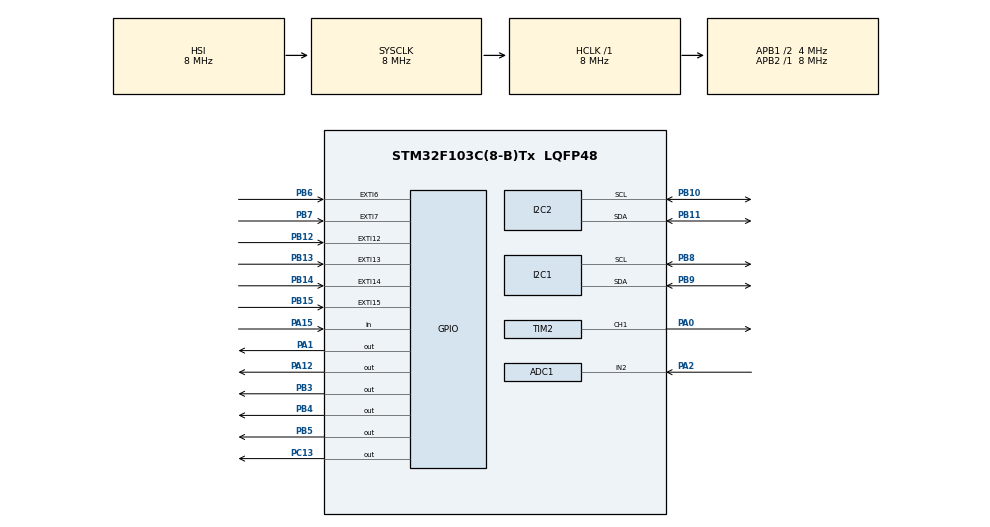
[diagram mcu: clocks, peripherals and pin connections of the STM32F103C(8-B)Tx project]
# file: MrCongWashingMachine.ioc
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ADC1.Channel-1\#ChannelRegularConversion=ADC_CHANNEL_2
ADC1.NbrOfConversionFlag=1
ADC1.Rank-1\#ChannelRegularConversion=1
ADC1.SamplingTime-1\#ChannelRegularConversion=ADC_SAMPLETIME_1CYCLE_5
ADC1.master=1
Mcu.Family=STM32F1
Mcu.Name=STM32F103C(8-B)Tx
Mcu.Package=LQFP48
NVIC.EXTI15_10_IRQn=true\:0\:0\:true\:false\:true\:true\:true\:true
NVIC.EXTI9_5_IRQn=true\:0\:0\:true\:false\:true\:true\:true\:true
NVIC.PriorityGroup=NVIC_PRIORITYGROUP_4
NVIC.TIM2_IRQn=true\:0\:0\:false\:false\:true\:true\:true\:true
NVIC.TIM4_IRQn=true\:0\:0\:false\:false\:true\:true\:true\:true
PA0-WKUP.Signal=S_TIM2_CH1_ETR
PA1.Signal=GPIO_Output
PA12.Signal=GPIO_Output
PA13.Mode=Serial_Wire
PA13.Signal=SYS_JTMS-SWDIO
PA14.Mode=Serial_Wire
PA14.Signal=SYS_JTCK-SWCLK
PA15.Signal=GPIO_Input
PA2.Signal=ADCx_IN2
PB10.Mode=I2C
PB10.Signal=I2C2_SCL
PB11.Mode=I2C
PB11.Signal=I2C2_SDA
PB12.Signal=GPXTI12
PB13.Signal=GPXTI13
PB14.Signal=GPXTI14
PB15.Signal=GPXTI15
PB3.Signal=GPIO_Output
PB4.Signal=GPIO_Output
PB5.Signal=GPIO_Output
PB6.GPIO_PuPd=GPIO_PULLDOWN
PB6.Signal=GPXTI6
PB7.GPIO_PuPd=GPIO_PULLUP
PB7.Signal=GPXTI7
PB8.Mode=I2C
PB8.Signal=I2C1_SCL
PB9.Mode=I2C
PB9.Signal=I2C1_SDA
PC13-TAMPER-RTC.Signal=GPIO_Output
PD0-OSC_IN.Mode=HSE-External-Oscillator
PD0-OSC_IN.Signal=RCC_OSC_IN
PD1-OSC_OUT.Mode=HSE-External-Oscillator
PD1-OSC_OUT.Signal=RCC_OSC_OUT
ProjectManager.HeapSize=0x200
ProjectManager.StackSize=0x400
ProjectManager.TargetToolchain=STM32CubeIDE
RCC.AHBFreq_Value=8000000
RCC.APB1CLKDivider=RCC_HCLK_DIV2
RCC.APB1Freq_Value=4000000
RCC.APB1TimFreq_Value=8000000
RCC.APB2Freq_Value=8000000
RCC.APB2TimFreq_Value=8000000
RCC.HCLKFreq_Value=8000000
RCC.PLLSourceVirtual=RCC_PLLSOURCE_HSE
RCC.SYSCLKFreq_VALUE=8000000
RCC.USBFreq_Value=16000000
SH.ADCx_IN2.0=ADC1_IN2,IN2
SH.S_TIM2_CH1_ETR.0=TIM2_CH1,Output Compare1 CH1
TIM2.AutoReloadPreload=TIM_AUTORELOAD_PRELOAD_ENABLE
TIM2.Channel-Output\ Compare1\ CH1=TIM_CHANNEL_1
TIM2.Period=0xFFFF-1
TIM2.Prescaler=16-1
TIM4.AutoReloadPreload=TIM_AUTORELOAD_PRELOAD_ENABLE
TIM4.Period=1000-1
TIM4.Prescaler=8000-1
VP_TIM2_VS_ClockSourceINT.Mode=Internal
VP_TIM4_VS_ClockSourceINT.Mode=Internal
board=custom

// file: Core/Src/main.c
/* USER CODE BEGIN Header */
/**
 ******************************************************************************
 * @file           : main.c
 * @brief          : Main program body
 ******************************************************************************
 * @attention
 *
 * Copyright (c) 2024 STMicroelectronics.
 * All rights reserved.
 *
 * This software is licensed under terms that can be found in the LICENSE file
 * in the root directory of this software component.
 * If no LICENSE file comes with this software, it is provided AS-IS.
 *
 ******************************************************************************
 */
/* USER CODE END Header */
#include "main.h"

/* USER CODE BEGIN Includes */
#include <stdbool.h>
#include <stdio.h>

#include "pins_def.h"
#include "i2c_lcd.h"
#include "eeprom_handler.h"
#include "washing_procedure.h"
/* USER CODE END Includes */

ADC_HandleTypeDef hadc1;

I2C_HandleTypeDef hi2c1;
I2C_HandleTypeDef hi2c2;

TIM_HandleTypeDef htim2;
TIM_HandleTypeDef htim4;

/* USER CODE BEGIN PV */
volatile bool onStart = true, backup_run_flag = false, power_loss_flag = false;
volatile int8_t procedure_run_flag = 0; // flag variable to indicate running washing procedure or not

bool relayOn = 0, motorRun = 0, paused = 0;
volatile bool ZC = 0; // zero crossing detected
volatile uint16_t freq_count = 0; //variable to count pulse from water sensor
volatile uint8_t water_level; //global variable to store water level

uint16_t alpha;						// variable to control motor speed (dimmer)
volatile uint8_t mode_select[3] = {0, 0, 0}; // mang dung luu gia tri che do giat
uint8_t backupData_eeprom[9];		// only use 9 bytes to store recovery data, see power_observer to know role of each byte
const char *mode_names[5] = {"Giat thuong", "Giat ngam", "Giat nhanh", "Giat nhe", "Chi vat"};
volatile bool flag; // flag to keep home screen not refreshing continuously/anti flickering
bool has_backup_data;

/* USER CODE END PV */

void SystemClock_Config(void);
static void MX_GPIO_Init(void);
static void MX_ADC1_Init(void);
static void MX_TIM2_Init(void);
static void MX_I2C1_Init(void);
static void MX_I2C2_Init(void);
static void MX_TIM4_Init(void);
/* USER CODE BEGIN PFP */
void updateLCD( void );
void power_observer( void );
void making_beep_sound( int times );
/* USER CODE END PFP */

/* USER CODE BEGIN 0 */
void HAL_GPIO_EXTI_Callback(uint16_t GPIO_Pin)
{
	if (GPIO_Pin == watersensor_input_Pin)
	{
		freq_count++;
	}
	if (GPIO_Pin == pulse_input_Pin)
	{
		ZC = true;
		// if (power_loss_flag) {
		// 	power_loss_flag = false;
		// 	HAL_NVIC_SystemReset();
		// }
		// turn on triac and start timer 2
		if (motorRun)
		{
			// __HAL_TIM_SET_COMPARE(&htim2, TIM_CHANNEL_1, alpha); // Change CCR1 value dynamically
			// HAL_TIM_OC_Start_IT(&htim2, TIM_CHANNEL_1);			 // Starts the timer
			HAL_GPIO_WritePin(triac_gate_GPIO_Port, triac_gate_Pin, GPIO_PIN_SET);
		} else {
			HAL_GPIO_WritePin(triac_gate_GPIO_Port, triac_gate_Pin, GPIO_PIN_RESET);
		}
	}
	if (GPIO_Pin == button1_Pin)
	{
		HAL_ResumeTick();
		if (has_backup_data)
		{
			/* nếu là vừa mở máy, có dữ liệu backup và nút start được nhấn thì chạy ctrinh backup*/
			backup_run_flag = true; // fix hêrre
			has_backup_data = false;
		}
		else
		{
			// if (procedure_run_flag == 1) {
			// 	flag = true;
			// 	paused = true;
			// 	procedure_run_flag = -4; //tam dung
			// } else if(procedure_run_flag == -4) {
			// 	flag = true;
			// 	paused = false;
			// 	procedure_run_flag = 1; // tiep tuc
			// }
			if ( !paused ) {
				if (!HAL_GPIO_ReadPin(door_sensor_GPIO_Port, door_sensor_Pin))
				{
					if ((mode_select[0] != 0 && mode_select[1] != 0 && mode_select[2] != 0) || (mode_select[0] == 5))
					{
						flag = true;
						procedure_run_flag = 1; // chạy ok
					}
					else
					{
						flag = true;
						procedure_run_flag = -1; //lỗi chưa chọn đủ input
					}
					if (procedure_run_flag == -3) { // tiếp tục chạy sau khi đã đóng cửa
						procedure_run_flag = 1;
					}
				}
				else
				{
					flag = true;
					procedure_run_flag = -2; //lỗi chưa đongs cửa
				}
			}
		}
	}
	if (!procedure_run_flag) {
		if (GPIO_Pin == button2_Pin)
		{
			/*
			mode_select[0] - bien luu che do giat
			== 1 : giat thuong
			== 2 : giat ngam (giat lau lau lau)
			== 3 : giat nhanh (giat nhe)
			== 4 : vat va xa
			== 5 : chi xa
			*/
			mode_select[0]++;
			if (mode_select[0] > 5)
			{
				mode_select[0] = 1;
			}
			has_backup_data = false;
		}
		if (GPIO_Pin == button3_Pin)
		{
			/*
			mode_select[1] - bien luu muc nuoc
			== i : muc nuoc = (i*10)%
			*/
			mode_select[1]++;
			if (mode_select[1] > 10)
			{
				mode_select[1] = 1;
			}
			has_backup_data = false;
		}
		if (GPIO_Pin == button4_Pin)
		{
			/*
			mode_select[2] - bien luu so lan xa
			== i : so lan xa = i (i <= 3)
			*/
			mode_select[2]++;
			if (mode_select[2] > 3)
			{
				mode_select[2] = 1;
			}
			has_backup_data = false;
		}
	}
}

void HAL_TIM_PeriodElapsedCallback(TIM_HandleTypeDef *htim)
{
	if (htim->Instance == TIM4)
	{
		// Timer 1 count done, means freq_count done in 1s
		// frequency = freq_count
		/*
		 * Water level: 0% ~ f = 11300Hz; 100% ~ f = 9000Hz
		 * Need to make a graph for this, temporarily use Linear
		 */
		int cal_level  = (int)((-0.04563 * freq_count) + 468.5045); // convert into 0-100% ax+b
		if (cal_level < 0) {
			water_level = 0;
		} else {
			water_level = cal_level;
		}
		// char data[16];
		// sprintf(data, "w:%d c:%d%%f:%d", freq_count, water_level , HAL_GetTick());
		// lcd_goto_XY(1, 0);
		// lcd_send_string("test water level");
		// lcd_goto_XY(2, 0);
		// lcd_send_string(data);
		freq_count = 0;
	}
}
/* USER CODE END 0 */

int main(void)
{

	/* MCU Configuration--------------------------------------------------------*/

	/* Reset of all peripherals, Initializes the Flash interface and the Systick. */
	HAL_Init();

	/* Configure the system clock */
	SystemClock_Config();

	/* Initialize all configured peripherals */
	MX_GPIO_Init();
	MX_ADC1_Init();
	MX_TIM2_Init();
	MX_I2C1_Init();
	MX_I2C2_Init();
	MX_TIM4_Init();
	/* USER CODE BEGIN 2 */
	HAL_Delay(1000); // delay 1000ms to wait for everything
	lcd_init();
	updateLCD();
	onStart = false;
	procedure_init();

	/* USER CODE END 2 */

	/* Infinite loop */
	/* USER CODE BEGIN WHILE */
	while (1)
	{
		// updateLCD();
		power_observer();
		if (backup_run_flag) {
			if (HAL_GPIO_ReadPin(door_sensor_GPIO_Port, door_sensor_Pin) && current_step!=1) {
				/*if door is open when in other step than filling water, stop program and display error message*/
				motorRun = false; // tắt động cơ
				flag = true; //display door error message
				procedure_run_flag = -3;
				HAL_SuspendTick();
				HAL_GPIO_WritePin(drain_gate_GPIO_Port, drain_gate_Pin, GPIO_PIN_RESET);
				HAL_GPIO_WritePin(triac_gate_GPIO_Port, triac_gate_Pin, GPIO_PIN_RESET);
			} else {
				run_procedure_backup(mode_select, water_level, &backup_run_flag, &motorRun, &alpha);
			}
		} else {
			if (procedure_run_flag == 1 )
			{
				if (HAL_GPIO_ReadPin(door_sensor_GPIO_Port, door_sensor_Pin) && current_step!=1) {
					/*if door is open when in other step than filling water, stop program and display error message*/
					motorRun = false; // tắt động cơ
					flag = true; //display door error message
					procedure_run_flag = -3;
					HAL_SuspendTick();
					HAL_GPIO_WritePin(drain_gate_GPIO_Port, drain_gate_Pin, GPIO_PIN_RESET);
					HAL_GPIO_WritePin(triac_gate_GPIO_Port, triac_gate_Pin, GPIO_PIN_RESET);
				} else {
					run_procedure(mode_select, water_level, &procedure_run_flag, &motorRun, &alpha);
				}
			}
		}

		// if (!relayOn) {
		// 	HAL_GPIO_WritePin(buzzer_GPIO_Port, buzzer_Pin, GPIO_PIN_RESET);
		// 	HAL_GPIO_WritePin(relay_GPIO_Port, relay_Pin, GPIO_PIN_RESET);
		// } else {
		// 	HAL_GPIO_WritePin(buzzer_GPIO_Port, buzzer_Pin, GPIO_PIN_SET);
		// 	HAL_GPIO_WritePin(relay_GPIO_Port, relay_Pin, GPIO_PIN_SET);
		// }
		/* USER CODE END WHILE */

	}
}

void SystemClock_Config(void)
{
	RCC_OscInitTypeDef RCC_OscInitStruct = {0};
	RCC_ClkInitTypeDef RCC_ClkInitStruct = {0};
	RCC_PeriphCLKInitTypeDef PeriphClkInit = {0};

	/** Initializes the RCC Oscillators according to the specified parameters
	 * in the RCC_OscInitTypeDef structure.
	 */
	RCC_OscInitStruct.OscillatorType = RCC_OSCILLATORTYPE_HSI;
	RCC_OscInitStruct.HSIState = RCC_HSI_ON;
	RCC_OscInitStruct.HSICalibrationValue = RCC_HSICALIBRATION_DEFAULT;
	RCC_OscInitStruct.PLL.PLLState = RCC_PLL_NONE;
	if (HAL_RCC_OscConfig(&RCC_OscInitStruct) != HAL_OK)
	{
		Error_Handler();
	}

	/** Initializes the CPU, AHB and APB buses clocks
	 */
	RCC_ClkInitStruct.ClockType = RCC_CLOCKTYPE_HCLK | RCC_CLOCKTYPE_SYSCLK | RCC_CLOCKTYPE_PCLK1 | RCC_CLOCKTYPE_PCLK2;
	RCC_ClkInitStruct.SYSCLKSource = RCC_SYSCLKSOURCE_HSI;
	RCC_ClkInitStruct.AHBCLKDivider = RCC_SYSCLK_DIV1;
	RCC_ClkInitStruct.APB1CLKDivider = RCC_HCLK_DIV2;
	RCC_ClkInitStruct.APB2CLKDivider = RCC_HCLK_DIV1;

	if (HAL_RCC_ClockConfig(&RCC_ClkInitStruct, FLASH_LATENCY_0) != HAL_OK)
	{
		Error_Handler();
	}
	PeriphClkInit.PeriphClockSelection = RCC_PERIPHCLK_ADC;
	PeriphClkInit.AdcClockSelection = RCC_ADCPCLK2_DIV2;
	if (HAL_RCCEx_PeriphCLKConfig(&PeriphClkInit) != HAL_OK)
	{
		Error_Handler();
	}
}

static void MX_ADC1_Init(void)
{

	ADC_ChannelConfTypeDef sConfig = {0};

	/** Common config
	 */
	hadc1.Instance = ADC1;
	hadc1.Init.ScanConvMode = ADC_SCAN_DISABLE;
	hadc1.Init.ContinuousConvMode = DISABLE;
	hadc1.Init.DiscontinuousConvMode = DISABLE;
	hadc1.Init.ExternalTrigConv = ADC_SOFTWARE_START;
	hadc1.Init.DataAlign = ADC_DATAALIGN_RIGHT;
	hadc1.Init.NbrOfConversion = 1;
	if (HAL_ADC_Init(&hadc1) != HAL_OK)
	{
		Error_Handler();
	}

	/** Configure Regular Channel
	 */
	sConfig.Channel = ADC_CHANNEL_2;
	sConfig.Rank = ADC_REGULAR_RANK_1;
	sConfig.SamplingTime = ADC_SAMPLETIME_1CYCLE_5;
	if (HAL_ADC_ConfigChannel(&hadc1, &sConfig) != HAL_OK)
	{
		Error_Handler();
	}
}

static void MX_I2C1_Init(void)
{

	hi2c1.Instance = I2C1;
	hi2c1.Init.ClockSpeed = 100000;
	hi2c1.Init.DutyCycle = I2C_DUTYCYCLE_2;
	hi2c1.Init.OwnAddress1 = 0;
	hi2c1.Init.AddressingMode = I2C_ADDRESSINGMODE_7BIT;
	hi2c1.Init.DualAddressMode = I2C_DUALADDRESS_DISABLE;
	hi2c1.Init.OwnAddress2 = 0;
	hi2c1.Init.GeneralCallMode = I2C_GENERALCALL_DISABLE;
	hi2c1.Init.NoStretchMode = I2C_NOSTRETCH_DISABLE;
	if (HAL_I2C_Init(&hi2c1) != HAL_OK)
	{
		Error_Handler();
	}
}

static void MX_I2C2_Init(void)
{

	hi2c2.Instance = I2C2;
	hi2c2.Init.ClockSpeed = 100000;
	hi2c2.Init.DutyCycle = I2C_DUTYCYCLE_2;
	hi2c2.Init.OwnAddress1 = 0;
	hi2c2.Init.AddressingMode = I2C_ADDRESSINGMODE_7BIT;
	hi2c2.Init.DualAddressMode = I2C_DUALADDRESS_DISABLE;
	hi2c2.Init.OwnAddress2 = 0;
	hi2c2.Init.GeneralCallMode = I2C_GENERALCALL_DISABLE;
	hi2c2.Init.NoStretchMode = I2C_NOSTRETCH_DISABLE;
	if (HAL_I2C_Init(&hi2c2) != HAL_OK)
	{
		Error_Handler();
	}
}

static void MX_TIM2_Init(void)
{

	TIM_ClockConfigTypeDef sClockSourceConfig = {0};
	TIM_MasterConfigTypeDef sMasterConfig = {0};
	TIM_OC_InitTypeDef sConfigOC = {0};

	htim2.Instance = TIM2;
	htim2.Init.Prescaler = 80-1;
	htim2.Init.CounterMode = TIM_COUNTERMODE_UP;
	htim2.Init.Period = 0xFFFF - 1;
	htim2.Init.ClockDivision = TIM_CLOCKDIVISION_DIV1;
	htim2.Init.AutoReloadPreload = TIM_AUTORELOAD_PRELOAD_ENABLE;
	if (HAL_TIM_Base_Init(&htim2) != HAL_OK)
	{
		Error_Handler();
	}
	sClockSourceConfig.ClockSource = TIM_CLOCKSOURCE_INTERNAL;
	if (HAL_TIM_ConfigClockSource(&htim2, &sClockSourceConfig) != HAL_OK)
	{
		Error_Handler();
	}
	if (HAL_TIM_OC_Init(&htim2) != HAL_OK)
	{
		Error_Handler();
	}
	sMasterConfig.MasterOutputTrigger = TIM_TRGO_RESET;
	sMasterConfig.MasterSlaveMode = TIM_MASTERSLAVEMODE_DISABLE;
	if (HAL_TIMEx_MasterConfigSynchronization(&htim2, &sMasterConfig) != HAL_OK)
	{
		Error_Handler();
	}
	sConfigOC.OCMode = TIM_OCMODE_TIMING;
	sConfigOC.Pulse = 0;
	sConfigOC.OCPolarity = TIM_OCPOLARITY_HIGH;
	sConfigOC.OCFastMode = TIM_OCFAST_DISABLE;
	if (HAL_TIM_OC_ConfigChannel(&htim2, &sConfigOC, TIM_CHANNEL_1) != HAL_OK)
	{
		Error_Handler();
	}
	HAL_TIM_MspPostInit(&htim2);
}

static void MX_TIM4_Init(void)
{

	TIM_ClockConfigTypeDef sClockSourceConfig = {0};
	TIM_MasterConfigTypeDef sMasterConfig = {0};

	htim4.Instance = TIM4;
	htim4.Init.Prescaler = 8000 - 1;
	htim4.Init.CounterMode = TIM_COUNTERMODE_UP;
	htim4.Init.Period = 1000 - 1;
	htim4.Init.ClockDivision = TIM_CLOCKDIVISION_DIV1;
	htim4.Init.AutoReloadPreload = TIM_AUTORELOAD_PRELOAD_ENABLE;
	if (HAL_TIM_Base_Init(&htim4) != HAL_OK)
	{
		Error_Handler();
	}
	sClockSourceConfig.ClockSource = TIM_CLOCKSOURCE_INTERNAL;
	if (HAL_TIM_ConfigClockSource(&htim4, &sClockSourceConfig) != HAL_OK)
	{
		Error_Handler();
	}
	sMasterConfig.MasterOutputTrigger = TIM_TRGO_RESET;
	sMasterConfig.MasterSlaveMode = TIM_MASTERSLAVEMODE_DISABLE;
	if (HAL_TIMEx_MasterConfigSynchronization(&htim4, &sMasterConfig) != HAL_OK)
	{
		Error_Handler();
	}
	/* USER CODE BEGIN TIM4_Init 2 */
	HAL_TIM_Base_Start_IT(&htim4);
	/* USER CODE END TIM4_Init 2 */
}

static void MX_GPIO_Init(void)
{
	GPIO_InitTypeDef GPIO_InitStruct = {0};

	/* GPIO Ports Clock Enable */
	__HAL_RCC_GPIOC_CLK_ENABLE();
	__HAL_RCC_GPIOD_CLK_ENABLE();
	__HAL_RCC_GPIOA_CLK_ENABLE();
	__HAL_RCC_GPIOB_CLK_ENABLE();

	/*Configure GPIO pin Output Level */
	HAL_GPIO_WritePin(GPIOC, GPIO_PIN_13, GPIO_PIN_RESET);

	/*Configure GPIO pin Output Level */
	HAL_GPIO_WritePin(GPIOA, GPIO_PIN_1 | GPIO_PIN_12, GPIO_PIN_RESET);

	/*Configure GPIO pin Output Level */
	HAL_GPIO_WritePin(GPIOB, GPIO_PIN_3 | GPIO_PIN_4 | GPIO_PIN_5, GPIO_PIN_RESET);

	/*Configure GPIO pin : PC13 */
	GPIO_InitStruct.Pin = GPIO_PIN_13;
	GPIO_InitStruct.Mode = GPIO_MODE_OUTPUT_PP;
	GPIO_InitStruct.Pull = GPIO_NOPULL;
	GPIO_InitStruct.Speed = GPIO_SPEED_FREQ_LOW;
	HAL_GPIO_Init(GPIOC, &GPIO_InitStruct);

	/*Configure GPIO pins : PA1 PA12 */
	GPIO_InitStruct.Pin = GPIO_PIN_1 | GPIO_PIN_12;
	GPIO_InitStruct.Mode = GPIO_MODE_OUTPUT_PP;
	GPIO_InitStruct.Pull = GPIO_NOPULL;
	GPIO_InitStruct.Speed = GPIO_SPEED_FREQ_LOW;
	HAL_GPIO_Init(GPIOA, &GPIO_InitStruct);

	/*Configure GPIO pins : PB12 PB13 PB14 PB15 */
	GPIO_InitStruct.Pin = GPIO_PIN_12 | GPIO_PIN_13 | GPIO_PIN_14 | GPIO_PIN_15;
	GPIO_InitStruct.Mode = GPIO_MODE_IT_RISING;
	GPIO_InitStruct.Pull = GPIO_NOPULL;
	HAL_GPIO_Init(GPIOB, &GPIO_InitStruct);

	/*Configure GPIO pin : PA15 */
	GPIO_InitStruct.Pin = GPIO_PIN_15;
	GPIO_InitStruct.Mode = GPIO_MODE_INPUT;
	GPIO_InitStruct.Pull = GPIO_NOPULL;
	HAL_GPIO_Init(GPIOA, &GPIO_InitStruct);

	/*Configure GPIO pins : PB3 PB4 PB5 */
	GPIO_InitStruct.Pin = GPIO_PIN_3 | GPIO_PIN_4 | GPIO_PIN_5;
	GPIO_InitStruct.Mode = GPIO_MODE_OUTPUT_PP;
	GPIO_InitStruct.Pull = GPIO_NOPULL;
	GPIO_InitStruct.Speed = GPIO_SPEED_FREQ_LOW;
	HAL_GPIO_Init(GPIOB, &GPIO_InitStruct);

	/*Configure GPIO pin : PB6 */
	GPIO_InitStruct.Pin = GPIO_PIN_6;
	GPIO_InitStruct.Mode = GPIO_MODE_IT_RISING;
	GPIO_InitStruct.Pull = GPIO_PULLDOWN;
	HAL_GPIO_Init(GPIOB, &GPIO_InitStruct);

	/*Configure GPIO pin : PB7 */
	GPIO_InitStruct.Pin = GPIO_PIN_7;
	GPIO_InitStruct.Mode = GPIO_MODE_IT_RISING;
	GPIO_InitStruct.Pull = GPIO_PULLUP;
	HAL_GPIO_Init(GPIOB, &GPIO_InitStruct);

	/* EXTI interrupt init*/
	HAL_NVIC_SetPriority(EXTI9_5_IRQn, 0, 0);
	HAL_NVIC_EnableIRQ(EXTI9_5_IRQn);

	HAL_NVIC_SetPriority(EXTI15_10_IRQn, 0, 0);
	HAL_NVIC_EnableIRQ(EXTI15_10_IRQn);
}

/* USER CODE BEGIN 4 */
void updateLCD( void )
{
	/*
	Updating LCD if index is different from current index;
	*/
	static uint32_t previous_tick = 0;		 // variable to store previous time
	static int previous_mode[3] = {0, 0, 0}; // make sure initial current == mode_select to display first message
	if (onStart)
	{
		lcd_goto_XY(1, 0);
		lcd_send_string("MyWashingMachine");
		int8_t retval = check_eeprom(backupData_eeprom);
		switch (retval)
		{
		case -1: // eeprom error code
			lcd_goto_XY(2, 0);
			lcd_send_string("Eeprom failed!");
			return;
		case 0: // eeprom ok, no recovery data
			lcd_goto_XY(2, 0);
			lcd_send_string("Eeprom OK!");
			return;
		case 1:
			lcd_goto_XY(1, 0);
			char data[16];
			sprintf(data, "Backup: %d %d %d %d        ", backupData_eeprom[0], backupData_eeprom[1], backupData_eeprom[2], backupData_eeprom[3]);
			lcd_send_string(data);
			// lcd_send_string("Bkup available! ");
			lcd_goto_XY(2, 0);
			lcd_send_string("START to resume ");
			has_backup_data = true;
			return;
		}
	}
	else
	{
		/* nếu chọn chế độ thay đổi thì mới cập nhật LCD */
		for (int i = 0; i < 3; i++)
		{
			if (previous_mode[i] != mode_select[i])
			{
				flag = true;
				previous_tick = HAL_GetTick();
				previous_mode[i] = mode_select[i];
				if (i == 0)
				{
					/*
					 * che do giat changed
					 */
					lcd_goto_XY(1, 0);
					lcd_send_string("CHON MODE GIAT: ");
					lcd_goto_XY(2, 0);
					char data[16];
					sprintf(data, "%s             ", mode_names[previous_mode[0] - 1]);
					lcd_send_string(data);
					return;
				}
				if (i == 1)
				{
					/*
					 * Muc nuoc changed
					 */
					lcd_goto_XY(1, 0);
					lcd_send_string("CHON MUC NUOC:  ");
					char data[16];
					sprintf(data, "%d %%           ", previous_mode[i] * 10);
					lcd_goto_XY(2, 0);
					lcd_send_string(data);
					return;
				}
				if (i == 2)
				{
					/*
					 * Chu ky xa changed
					 */
					lcd_goto_XY(1, 0);
					lcd_send_string("CHON SO LAN XA: ");
					char data[16];
					sprintf(data, "Xa %d lan nuoc   ", previous_mode[i]);
					lcd_goto_XY(2, 0);
					lcd_send_string(data);
					return;
				}
			}
		}
		if (procedure_run_flag == 1 && flag)
		{
			/*hiển thị trực tiếp trong washing_procedure nên khi chạy thì k hiện gì ở đây*/
			return;
		}
		else if (procedure_run_flag == -1 && flag)
		{
			flag = false;
			lcd_goto_XY(1, 0);
			lcd_send_string("Select all input");
			lcd_goto_XY(2, 0);
			lcd_send_string("to run!         ");
			procedure_run_flag = 0; // set procedure_run_flag = 0 to display Home back
			return;
		}
		else if (procedure_run_flag == -2 && flag)
		{
			flag = false;
			lcd_goto_XY(1, 0);
			lcd_send_string("Lid not closed, ");
			lcd_goto_XY(2, 0);
			lcd_send_string("close to run!   ");
			procedure_run_flag = 0; // set procedure_run_flag = 0 to display Home back
			return;
		} else if (procedure_run_flag == -3 && flag)
		{
			flag = false;
			lcd_goto_XY(1, 0);
			lcd_send_string("Lid oppened, cl-");
			lcd_goto_XY(2, 0);
			lcd_send_string("ose to continue!");
			procedure_run_flag = 0; // set procedure_run_flag = 0 to display Home back
			return;
		} else if (procedure_run_flag == -4 && flag)
		{
			flag = false;
			lcd_clear_display();
			lcd_goto_XY(1, 0);
			lcd_send_string("Washing paused! ");
			return;
		}
		if ((HAL_GetTick() - previous_tick > 2000) && flag)
		{
			// This is HOME SCREEN, get back to Home after 2000ms
			flag = false;
			lcd_clear_display();
			char data[16];
			sprintf(data, " %s", mode_names[previous_mode[0] - 1]);
			lcd_goto_XY(1, 0);
			lcd_send_string(data);
			sprintf(data, "Nuoc: %d%% Xa: %d", previous_mode[1] * 10, previous_mode[2]);
			lcd_goto_XY(2, 0);
			lcd_send_string(data);
		}
	}
}

void power_observer(void)
{
	static uint32_t power_observer_tick;
	static bool data_saved = false;
	if (ZC == true)
	{
		power_observer_tick = HAL_GetTick();
	}

	if (HAL_GetTick() - power_observer_tick > 40)
	{
		// if no pulse in 40ms = 2 cycle means power loss detected
		//  start saving backup data if running (procedure_run_flag == true)
		if (procedure_run_flag && at24_isConnected())
		{
			if (!data_saved) {
				/*
				* Luu trạng thái khi mất điện
				* byte[0]: mode_select[0] - chế độ giặt
				* byte[1]: mode_select[1] - mực nước
				* byte[2]: mode_select[2] - số lần xả yêu cầu
				* byte[3]: current_step - bước giặt hiện tại
				* byte[4]: drained_times - số lần xả đã thực hiện
				* byte[5-8]: elapsed_time_per_mode - 4byte lưu thời gian đang giặt
				*/
				/*Luu cac bien the hien mode giat hien tai*/
				procedure_run_flag = -3; // câu lệnh này để dừng lại SysTick và chu trình giặt
				// at24_write(0, mode_select, 3, 500);
				/*Luu cac bien extern tu washing_procedure*/
				uint8_t data[6] = {mode_select[0], mode_select[1], mode_select[2], current_step, drained_times};
				at24_write(0, data, sizeof(data), 500);
				data_saved = true;

			}
		}
		power_loss_flag = true;
	}
	ZC = false; // set ZC false here, Pulse_EXTI can set it back to true, if not we can know that the power is off
}

/* USER CODE END 4 */

void Error_Handler(void)
{
	__disable_irq();
	while (1)
	{
	}
}
